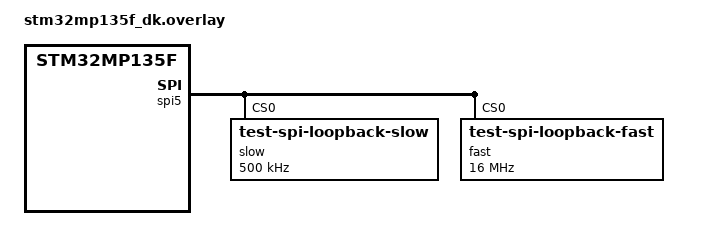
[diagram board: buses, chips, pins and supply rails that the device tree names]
/*
 * Copyright (c) 2026 Gregory Planchon <gregory.planchon@st.com>
 *
 * SPDX-License-Identifier: Apache-2.0
 */

&spi5 {
	slow@0 {
		compatible = "test-spi-loopback-slow";
		reg = <0>;
		spi-max-frequency = <DT_FREQ_K(500)>;
	};

	fast@0 {
		compatible = "test-spi-loopback-fast";
		reg = <0>;
		spi-max-frequency = <DT_FREQ_M(16)>;
	};
};
